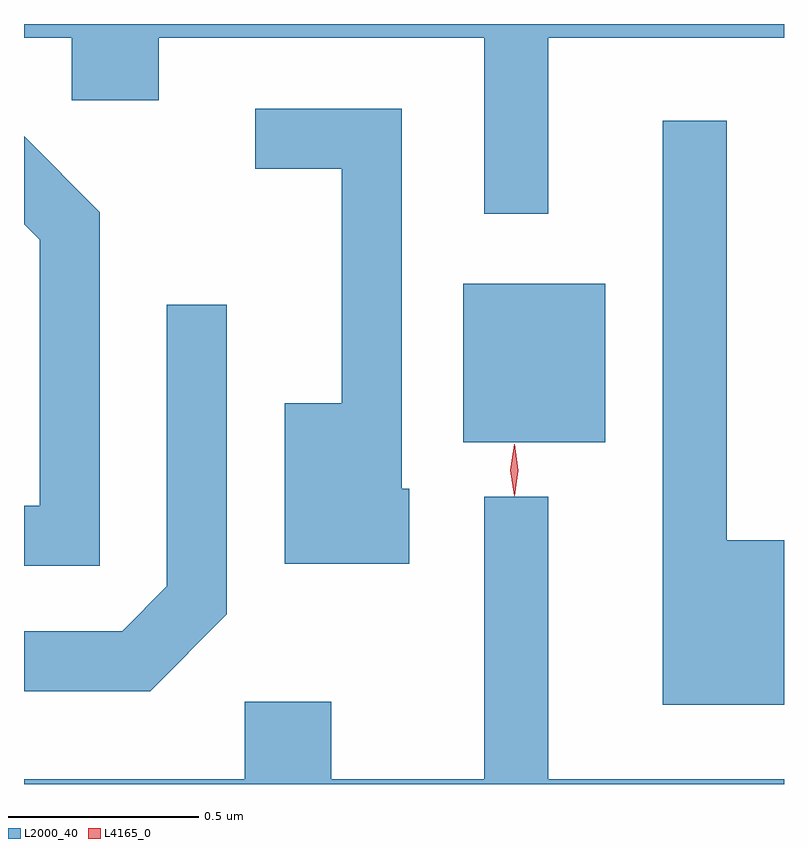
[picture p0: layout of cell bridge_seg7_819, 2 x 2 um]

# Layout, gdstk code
import gdstk
lib = gdstk.Library(unit=1e-6, precision=1e-09)
def R(c, l, rs):  # rectangles x0, y0, x1, y1
    for r in rs: c.add(gdstk.rectangle(r[:2], r[2:], *l))
def P(c, l, *ps):  # polygons
    for p in ps: c.add(gdstk.Polygon(p, *l))
L2000_40 = (2000, 40)
L4165_0 = (4165, 0)

bridge_seg7_819 = lib.new_cell('bridge_seg7_819')
R(bridge_seg7_819, L2000_40, [(383.646,1786.511,384.019,1786.929)])
P(bridge_seg7_819, L2000_40, [(383.869,1787.576),(384.49,1787.576),(384.49,1787.612),(382.49,1787.612),(382.49,1787.576),(382.616,1787.576),(382.616,1787.411),(382.844,1787.411),(382.844,1787.576),(383.701,1787.576),(383.701,1787.113),(383.869,1787.113)],
  [(383.504,1786.389),(383.484,1786.389),(383.484,1787.389),(383.098,1787.389),(383.098,1787.231),(383.326,1787.231),(383.326,1786.614),(383.176,1786.614),(383.176,1786.191),(383.504,1786.191)],
  [(384.49,1786.254),(384.339,1786.254),(384.339,1787.358),(384.171,1787.358),(384.171,1785.821),(384.49,1785.821)],
  [(382.689,1787.117),(382.49,1787.316),(382.49,1787.085),(382.531,1787.044),(382.531,1786.344),(382.49,1786.344),(382.49,1786.186),(382.689,1786.186)],
  [(383.024,1786.059),(383.024,1786.873),(382.866,1786.873),(382.866,1786.132),(382.749,1786.014),(382.49,1786.014),(382.49,1785.856),(382.822,1785.856)],
  [(384.49,1785.624),(383.869,1785.624),(383.869,1786.368),(383.701,1786.368),(383.701,1785.624),(383.299,1785.624),(383.299,1785.829),(383.071,1785.829),(383.071,1785.624),(382.49,1785.624),(382.49,1785.612),(384.49,1785.612)])
P(bridge_seg7_819, L4165_0, [(383.78,1786.372),(383.78,1786.373),(383.77,1786.437),(383.78,1786.501),(383.78,1786.502),(383.781,1786.501),(383.79,1786.437),(383.781,1786.373)],
  [(383.78,1786.369),(383.78,1786.37),(383.77,1786.438),(383.78,1786.506),(383.78,1786.506),(383.781,1786.506),(383.79,1786.438),(383.781,1786.37)])

lib.write_gds('bridge_seg7_819.gds')
